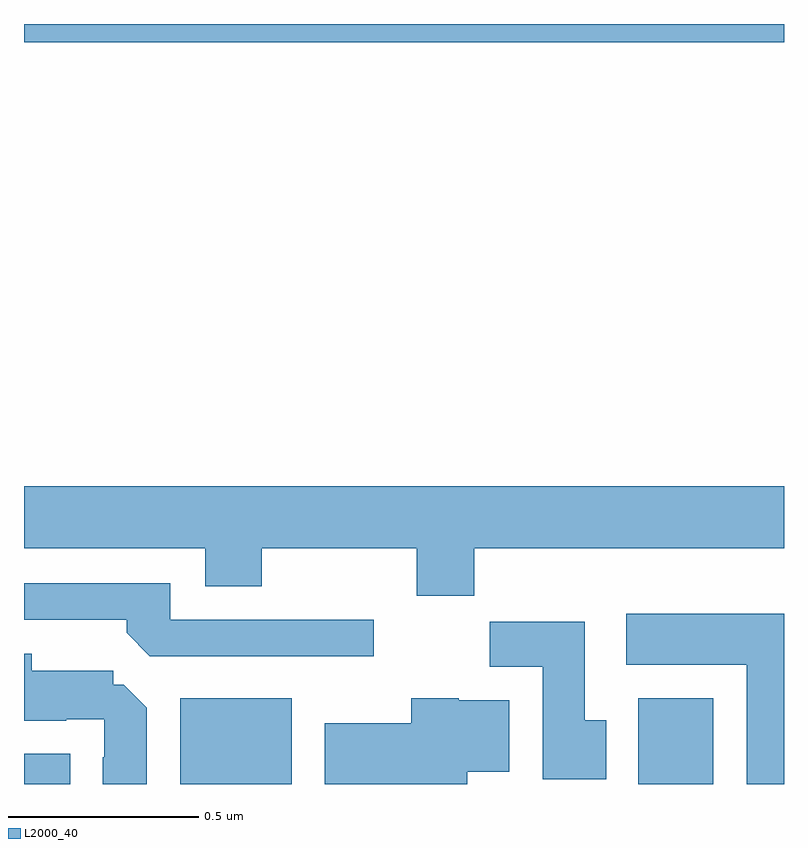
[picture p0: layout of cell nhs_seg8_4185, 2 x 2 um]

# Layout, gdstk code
import gdstk
lib = gdstk.Library(unit=1e-6, precision=1e-09)
def R(c, l, rs):  # rectangles x0, y0, x1, y1
    for r in rs: c.add(gdstk.rectangle(r[:2], r[2:], *l))
def P(c, l, *ps):  # polygons
    for p in ps: c.add(gdstk.Polygon(p, *l))
L2000_40 = (2000, 40)

nhs_seg8_4185 = lib.new_cell('nhs_seg8_4185')
R(nhs_seg8_4185, L2000_40, [(167,1095.9,167.122,1095.979), (167.411,1095.9,167.704,1096.126), (168.617,1095.9,168.814,1096.126), (167,1097.852,169,1097.9)])
P(nhs_seg8_4185, L2000_40, [(168.185,1096.52),(169,1096.52),(169,1096.684),(167,1096.684),(167,1096.52),(167.477,1096.52),(167.477,1096.421),(167.625,1096.421),(167.625,1096.52),(168.034,1096.52),(168.034,1096.396),(168.185,1096.396)],
  [(167.92,1096.332),(167.385,1096.332),(167.385,1096.428),(167,1096.428),(167,1096.332),(167.27,1096.332),(167.27,1096.298),(167.331,1096.236),(167.92,1096.236)],
  [(169,1096.348),(168.585,1096.348),(168.585,1096.214),(168.902,1096.214),(168.902,1095.9),(169,1095.9)],
  [(168.532,1096.068),(168.475,1096.068),(168.475,1096.327),(168.226,1096.327),(168.226,1096.208),(168.365,1096.208),(168.365,1095.912),(168.532,1095.912)],
  [(167.323,1096.101),(167.263,1096.161),(167.235,1096.161),(167.235,1096.198),(167.02,1096.198),(167.02,1096.243),(167,1096.243),(167,1096.067),(167.111,1096.067),(167.111,1096.071),(167.211,1096.071),(167.211,1095.971),(167.207,1095.971),(167.207,1095.9),(167.323,1095.9)],
  [(168.166,1095.932),(168.277,1095.932),(168.277,1096.12),(168.144,1096.12),(168.144,1096.126),(168.019,1096.126),(168.019,1096.06),(167.792,1096.06),(167.792,1095.9),(168.166,1095.9)])

lib.write_gds('nhs_seg8_4185.gds')
